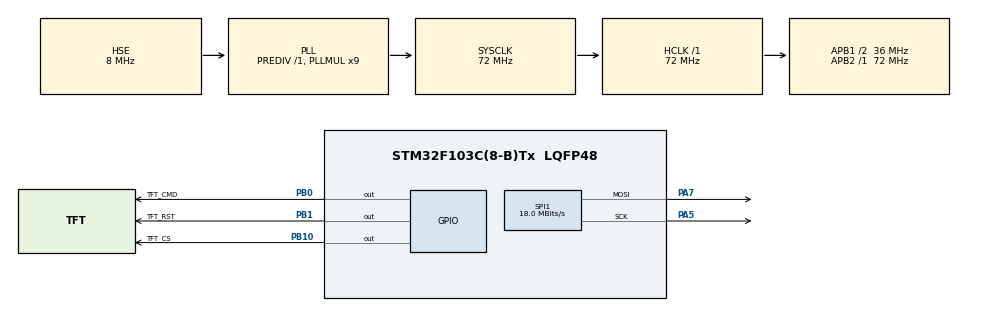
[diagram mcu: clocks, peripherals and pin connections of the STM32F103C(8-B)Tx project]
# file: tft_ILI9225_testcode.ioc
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Mcu.Family=STM32F1
Mcu.Name=STM32F103C(8-B)Tx
Mcu.Package=LQFP48
NVIC.PriorityGroup=NVIC_PRIORITYGROUP_4
PA13.Mode=Serial_Wire
PA13.Signal=SYS_JTMS-SWDIO
PA14.Mode=Serial_Wire
PA14.Signal=SYS_JTCK-SWCLK
PA5.Mode=TX_Only_Simplex_Unidirect_Master
PA5.Signal=SPI1_SCK
PA7.Mode=TX_Only_Simplex_Unidirect_Master
PA7.Signal=SPI1_MOSI
PB0.GPIO_Label=TFT_CMD
PB0.Signal=GPIO_Output
PB1.GPIO_Label=TFT_RST
PB1.Signal=GPIO_Output
PB10.GPIO_Label=TFT_CS
PB10.Signal=GPIO_Output
PD0-OSC_IN.Mode=HSE-External-Oscillator
PD0-OSC_IN.Signal=RCC_OSC_IN
PD1-OSC_OUT.Mode=HSE-External-Oscillator
PD1-OSC_OUT.Signal=RCC_OSC_OUT
ProjectManager.HeapSize=0x200
ProjectManager.StackSize=0x400
ProjectManager.TargetToolchain=STM32CubeIDE
RCC.AHBFreq_Value=72000000
RCC.APB1CLKDivider=RCC_HCLK_DIV2
RCC.APB1Freq_Value=36000000
RCC.APB1TimFreq_Value=72000000
RCC.APB2Freq_Value=72000000
RCC.APB2TimFreq_Value=72000000
RCC.HCLKFreq_Value=72000000
RCC.PLLMUL=RCC_PLL_MUL9
RCC.PLLSourceVirtual=RCC_PLLSOURCE_HSE
RCC.SYSCLKFreq_VALUE=72000000
RCC.SYSCLKSource=RCC_SYSCLKSOURCE_PLLCLK
RCC.USBFreq_Value=72000000
SPI1.BaudRatePrescaler=SPI_BAUDRATEPRESCALER_4
SPI1.CalculateBaudRate=18.0 MBits/s
SPI1.Direction=SPI_DIRECTION_2LINES
SPI1.Mode=SPI_MODE_MASTER
SPI1.VirtualType=VM_MASTER
board=custom

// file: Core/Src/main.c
/* USER CODE BEGIN Header */
/**
  ******************************************************************************
  * @file           : main.c
  * @brief          : Main program body
  ******************************************************************************
  * @attention
  *
  * Copyright (c) 2025 STMicroelectronics.
  * All rights reserved.
  *
  * This software is licensed under terms that can be found in the LICENSE file
  * in the root directory of this software component.
  * If no LICENSE file comes with this software, it is provided AS-IS.
  *
  ******************************************************************************
  */
/* USER CODE END Header */
#include "main.h"

/* USER CODE BEGIN PM */

// Change the width and height if required (defined in portrait mode)
// or use the constructor to over-ride defaults
#define TFT_WIDTH  176
#define TFT_HEIGHT 220
#define TFT_SIZE (TFT_WIDTH * TFT_HEIGHT)

// Generic commands used by TFT_eSPI.cpp
#define TFT_NOP     0x00
#define TFT_SWRST   0x28

#define TFT_CASET 0
#define TFT_PASET 0

#define TFT_CASET1     ILI9225_HORIZONTAL_WINDOW_ADDR2
#define TFT_CASET2     ILI9225_HORIZONTAL_WINDOW_ADDR1

#define TFT_PASET1     ILI9225_VERTICAL_WINDOW_ADDR2
#define TFT_PASET2     ILI9225_VERTICAL_WINDOW_ADDR1

#define TFT_RAM_ADDR1  ILI9225_RAM_ADDR_SET1
#define TFT_RAM_ADDR2  ILI9225_RAM_ADDR_SET2

#define TFT_RAMWR      ILI9225_GRAM_DATA_REG

#define TFT_MAD_BGR 0x10
#define TFT_MAD_RGB 0x00

#ifdef TFT_RGB_ORDER
  #if (TFT_RGB_ORDER == 1)
    #define TFT_MAD_COLOR_ORDER TFT_MAD_RGB
  #else
    #define TFT_MAD_COLOR_ORDER TFT_MAD_BGR
  #endif
#else
  #define TFT_MAD_COLOR_ORDER TFT_MAD_BGR
#endif

/* ILI9225 Registers */
#define ILI9225_DRIVER_OUTPUT_CTRL      0x01  // Driver Output Control
#define ILI9225_LCD_AC_DRIVING_CTRL     0x02  // LCD AC Driving Control
#define ILI9225_ENTRY_MODE              0x03  // Entry Mode
#define ILI9225_DISP_CTRL1              0x07  // Display Control 1
#define ILI9225_BLANK_PERIOD_CTRL1      0x08  // Blank Period Control
#define ILI9225_FRAME_CYCLE_CTRL        0x0B  // Frame Cycle Control
#define ILI9225_INTERFACE_CTRL          0x0C  // Interface Control
#define ILI9225_OSC_CTRL                0x0F  // Osc Control
#define ILI9225_POWER_CTRL1             0x10  // Power Control 1
#define ILI9225_POWER_CTRL2             0x11  // Power Control 2
#define ILI9225_POWER_CTRL3             0x12  // Power Control 3
#define ILI9225_POWER_CTRL4             0x13  // Power Control 4
#define ILI9225_POWER_CTRL5             0x14  // Power Control 5
#define ILI9225_VCI_RECYCLING           0x15  // VCI Recycling
#define ILI9225_RAM_ADDR_SET1           0x20  // Horizontal GRAM Address Set
#define ILI9225_RAM_ADDR_SET2           0x21  // Vertical GRAM Address Set
#define ILI9225_GRAM_DATA_REG           0x22  // GRAM Data Register
#define ILI9225_GATE_SCAN_CTRL          0x30  // Gate Scan Control Register
#define ILI9225_VERTICAL_SCROLL_CTRL1   0x31  // Vertical Scroll Control 1 Register
#define ILI9225_VERTICAL_SCROLL_CTRL2   0x32  // Vertical Scroll Control 2 Register
#define ILI9225_VERTICAL_SCROLL_CTRL3   0x33  // Vertical Scroll Control 3 Register
#define ILI9225_PARTIAL_DRIVING_POS1    0x34  // Partial Driving Position 1 Register
#define ILI9225_PARTIAL_DRIVING_POS2    0x35  // Partial Driving Position 2 Register
#define ILI9225_HORIZONTAL_WINDOW_ADDR1 0x36  // Horizontal Address Start Position
#define ILI9225_HORIZONTAL_WINDOW_ADDR2 0x37  // Horizontal Address End Position
#define ILI9225_VERTICAL_WINDOW_ADDR1   0x38  // Vertical Address Start Position
#define ILI9225_VERTICAL_WINDOW_ADDR2   0x39  // Vertical Address End Position
#define ILI9225_GAMMA_CTRL1             0x50  // Gamma Control 1
#define ILI9225_GAMMA_CTRL2             0x51  // Gamma Control 2
#define ILI9225_GAMMA_CTRL3             0x52  // Gamma Control 3
#define ILI9225_GAMMA_CTRL4             0x53  // Gamma Control 4
#define ILI9225_GAMMA_CTRL5             0x54  // Gamma Control 5
#define ILI9225_GAMMA_CTRL6             0x55  // Gamma Control 6
#define ILI9225_GAMMA_CTRL7             0x56  // Gamma Control 7
#define ILI9225_GAMMA_CTRL8             0x57  // Gamma Control 8
#define ILI9225_GAMMA_CTRL9             0x58  // Gamma Control 9
#define ILI9225_GAMMA_CTRL10            0x59  // Gamma Control 10

#define LCD_nCS_LOW()	HAL_GPIO_WritePin(GPIOB, TFT_CS_Pin, 0) // ghi chan CS xuong muc 0
#define LCD_nCS_HIGH()	HAL_GPIO_WritePin(GPIOB, TFT_CS_Pin, 1)

/* USER CODE END PM */

SPI_HandleTypeDef hspi1;

void SystemClock_Config(void);
static void MX_GPIO_Init(void);
static void MX_SPI1_Init(void);

/* USER CODE BEGIN 0 */
//void ILI9225_WriteCommand(uint8_t command)
//{
//	LCD_nCS_LOW();
//	HAL_GPIO_WritePin(GPIOB, TFT_CMD_Pin, 0); // RS = 0 => CMD
//	HAL_SPI_Transmit(&hspi1, &command, 1, 1000);
//	LCD_nCS_HIGH();
//}

//void ILI9225_WriteData(uint8_t data)
//{
//	LCD_nCS_LOW();
//	HAL_GPIO_WritePin(GPIOB, TFT_CMD_Pin, 1); // RS = 1 -> DATA
//	HAL_SPI_Transmit(&hspi1, &data, 1, 1000);
//	LCD_nCS_HIGH();
//}

void ILI9225_WriteCommand16(uint16_t cmd)
{
    uint8_t cmd_buf[2];
    // ILI9225 yêu cầu gửi Byte Cao (MSB) trước, Byte Thấp (LSB) sau
    cmd_buf[0] = (uint8_t)(cmd >> 8);  // Byte Cao
    cmd_buf[1] = (uint8_t)(cmd & 0xFF); // Byte Thấp

    LCD_nCS_LOW();
    HAL_GPIO_WritePin(GPIOB, TFT_CMD_Pin, 0); // TFT_CMD_Pin là nối với chân RS = 0 -> DATA
    HAL_SPI_Transmit(&hspi1, cmd_buf, 2, 1000); // Gửi 2 bytes
    LCD_nCS_HIGH();
}

void ILI9225_WriteData16(uint16_t data)
{
    uint8_t data_buf[2];
    // ILI9225 yêu cầu gửi Byte Cao (MSB) trước, Byte Thấp (LSB) sau
    data_buf[0] = (uint8_t)(data >> 8);  // Byte Cao
    data_buf[1] = (uint8_t)(data & 0xFF); // Byte Thấp

    LCD_nCS_LOW();
    HAL_GPIO_WritePin(GPIOB, TFT_CMD_Pin, 1); // RS = 1 -> DATA
    HAL_SPI_Transmit(&hspi1, data_buf, 2, 1000); // Gửi 2 bytes
    LCD_nCS_HIGH();
}

void ILI9225_WriteRegister(uint16_t cmd, uint16_t data)
{
	ILI9225_WriteCommand16(cmd);
//	ILI9225_WriteData(data);
	ILI9225_WriteData16(data);
}

void ILI9225_Init()
{
	// 1. SW reset; reset pin PB1
	HAL_GPIO_WritePin(GPIOB, TFT_RST_Pin, 0);
	HAL_Delay(10);
	HAL_GPIO_WritePin(GPIOB, TFT_RST_Pin, 1);
	HAL_Delay(200);

	/* Start Initial Sequence */
	/* Set SS bit and direction output from S528 to S1 */
	ILI9225_WriteRegister(ILI9225_POWER_CTRL1, 0x0000); // Set SAP,DSTB,STB
	ILI9225_WriteRegister(ILI9225_POWER_CTRL2, 0x0000); // Set APON,PON,AON,VCI1EN,VC
	ILI9225_WriteRegister(ILI9225_POWER_CTRL3, 0x0000); // Set BT,DC1,DC2,DC3
	ILI9225_WriteRegister(ILI9225_POWER_CTRL4, 0x0000); // Set GVDD
	ILI9225_WriteRegister(ILI9225_POWER_CTRL5, 0x0000); // Set VCOMH/VCOML voltage
	HAL_Delay(40);

	// Power-on sequence
	ILI9225_WriteRegister(ILI9225_POWER_CTRL2, 0x0018); // Set APON,PON,AON,VCI1EN,VC
	ILI9225_WriteRegister(ILI9225_POWER_CTRL3, 0x6121); // Set BT,DC1,DC2,DC3
	ILI9225_WriteRegister(ILI9225_POWER_CTRL4, 0x006F); // Set GVDD   /*007F 0088 */
	ILI9225_WriteRegister(ILI9225_POWER_CTRL5, 0x495F); // Set VCOMH/VCOML voltage
	ILI9225_WriteRegister(ILI9225_POWER_CTRL1, 0x0800); // Set SAP,DSTB,STB
	HAL_Delay(10);

	ILI9225_WriteRegister(ILI9225_POWER_CTRL2, 0x103B); // Set APON,PON,AON,VCI1EN,VC
	HAL_Delay(50);

	ILI9225_WriteRegister(ILI9225_DRIVER_OUTPUT_CTRL, 0x011C); // set the display line number and display direction
	ILI9225_WriteRegister(ILI9225_LCD_AC_DRIVING_CTRL, 0x0100); // set 1 line inversion
	ILI9225_WriteRegister(ILI9225_ENTRY_MODE, 0x1038); // set GRAM write direction and BGR=1.
	ILI9225_WriteRegister(ILI9225_DISP_CTRL1, 0x0000); // Display off
	ILI9225_WriteRegister(ILI9225_BLANK_PERIOD_CTRL1, 0x0808); // set the back porch and front porch
	ILI9225_WriteRegister(ILI9225_FRAME_CYCLE_CTRL, 0x1100); // set the clocks number per line
	ILI9225_WriteRegister(ILI9225_INTERFACE_CTRL, 0x0000); // CPU interface
	ILI9225_WriteRegister(ILI9225_OSC_CTRL, 0x0D01); // Set Osc  /*0e01*/
	ILI9225_WriteRegister(ILI9225_VCI_RECYCLING, 0x0020); // Set VCI recycling
	ILI9225_WriteRegister(ILI9225_RAM_ADDR_SET1, 0x0000); // RAM Address
	ILI9225_WriteRegister(ILI9225_RAM_ADDR_SET2, 0x0000); // RAM Address

	/* Set GRAM area */
	ILI9225_WriteRegister(ILI9225_GATE_SCAN_CTRL, 0x0000);
	ILI9225_WriteRegister(ILI9225_VERTICAL_SCROLL_CTRL1, 0x00DB);
	ILI9225_WriteRegister(ILI9225_VERTICAL_SCROLL_CTRL2, 0x0000);
	ILI9225_WriteRegister(ILI9225_VERTICAL_SCROLL_CTRL3, 0x0000);
	ILI9225_WriteRegister(ILI9225_PARTIAL_DRIVING_POS1, 0x00DB);
	ILI9225_WriteRegister(ILI9225_PARTIAL_DRIVING_POS2, 0x0000);
	ILI9225_WriteRegister(ILI9225_HORIZONTAL_WINDOW_ADDR1, 0x00AF);
	ILI9225_WriteRegister(ILI9225_HORIZONTAL_WINDOW_ADDR2, 0x0000);
	ILI9225_WriteRegister(ILI9225_VERTICAL_WINDOW_ADDR1, 0x00DB);
	ILI9225_WriteRegister(ILI9225_VERTICAL_WINDOW_ADDR2, 0x0000);

	/* Set GAMMA curve */
	ILI9225_WriteRegister(ILI9225_GAMMA_CTRL1, 0x0000);
	ILI9225_WriteRegister(ILI9225_GAMMA_CTRL2, 0x0808);
	ILI9225_WriteRegister(ILI9225_GAMMA_CTRL3, 0x080A);
	ILI9225_WriteRegister(ILI9225_GAMMA_CTRL4, 0x000A);
	ILI9225_WriteRegister(ILI9225_GAMMA_CTRL5, 0x0A08);
	ILI9225_WriteRegister(ILI9225_GAMMA_CTRL6, 0x0808);
	ILI9225_WriteRegister(ILI9225_GAMMA_CTRL7, 0x0000);
	ILI9225_WriteRegister(ILI9225_GAMMA_CTRL8, 0x0A00);
	ILI9225_WriteRegister(ILI9225_GAMMA_CTRL9, 0x0710);
	ILI9225_WriteRegister(ILI9225_GAMMA_CTRL10, 0x0710);

	ILI9225_WriteRegister(ILI9225_DISP_CTRL1, 0x0012);
	HAL_Delay(50);

	ILI9225_WriteRegister(ILI9225_DISP_CTRL1, 0x1017);
}

/**
 * @brief Tô đầy màn hình LCD bằng một màu sắc 16-bit cụ thể.
 * @param color: Giá trị màu 16-bit (R5G6B5)
 */
void ILI9225_FillScreen(uint16_t color)
{
    // 1. Đặt lại con trỏ vẽ về (0, 0)
    // Thanh ghi 20h (RAM Address Set 1 - Cột X)
    ILI9225_WriteRegister(0x20, 0x0000);
    // Thanh ghi 21h (RAM Address Set 2 - Hàng Y)
    ILI9225_WriteRegister(0x21, 0x0000);

    // 2. Chọn Lệnh Ghi Dữ liệu vào GRAM (0x22)
    // Lệnh này chỉ cần gửi 8-bit Command (RS=0)
    ILI9225_WriteCommand16(0x22);

    // 3. Gửi Dữ liệu Màu (color) cho toàn bộ màn hình

    // Chuẩn bị 2 byte dữ liệu màu để gửi lặp lại
    uint8_t color_buf[2];
    color_buf[0] = (uint8_t)(color >> 8);  // Byte Cao
    color_buf[1] = (uint8_t)(color & 0xFF); // Byte Thấp

    // Bắt đầu truyền dữ liệu (RS=1)
    LCD_nCS_LOW();
    HAL_GPIO_WritePin(GPIOB, TFT_CMD_Pin, 1); // RS = 1 -> DATA

    // Gửi 38720 pixel (mỗi pixel là 2 bytes)
    for (uint32_t i = 0; i < TFT_SIZE; i++)
    {
        // Sử dụng HAL_SPI_Transmit trực tiếp để tránh overhead của hàm con
        // và giữ CS (Chip Select) LOW trong suốt quá trình vẽ
        HAL_SPI_Transmit(&hspi1, color_buf, 2, 10);
    }

    LCD_nCS_HIGH();
}

/* USER CODE END 0 */

int main(void)
{

  /* MCU Configuration--------------------------------------------------------*/

  /* Reset of all peripherals, Initializes the Flash interface and the Systick. */
  HAL_Init();

  /* Configure the system clock */
  SystemClock_Config();

  /* Initialize all configured peripherals */
  MX_GPIO_Init();
  MX_SPI1_Init();
  /* USER CODE BEGIN 2 */
  ILI9225_Init();
  #define COLOR_RED   0xF800
  #define COLOR_GREEN 0x07E0
  #define COLOR_BLUE  0x001F
  /* USER CODE END 2 */

  /* Infinite loop */
  while (1)
  {
	  // Test màu Đỏ
	  ILI9225_FillScreen(COLOR_RED);
	  HAL_Delay(1000);

	  // Test màu Xanh lá
	  ILI9225_FillScreen(COLOR_GREEN);
	  HAL_Delay(1000);

	  // Test màu Xanh dương
	  ILI9225_FillScreen(COLOR_BLUE);
	  HAL_Delay(1000);
  }
}

void SystemClock_Config(void)
{
  RCC_OscInitTypeDef RCC_OscInitStruct = {0};
  RCC_ClkInitTypeDef RCC_ClkInitStruct = {0};

  /** Initializes the RCC Oscillators according to the specified parameters
  * in the RCC_OscInitTypeDef structure.
  */
  RCC_OscInitStruct.OscillatorType = RCC_OSCILLATORTYPE_HSE;
  RCC_OscInitStruct.HSEState = RCC_HSE_ON;
  RCC_OscInitStruct.HSEPredivValue = RCC_HSE_PREDIV_DIV1;
  RCC_OscInitStruct.HSIState = RCC_HSI_ON;
  RCC_OscInitStruct.PLL.PLLState = RCC_PLL_ON;
  RCC_OscInitStruct.PLL.PLLSource = RCC_PLLSOURCE_HSE;
  RCC_OscInitStruct.PLL.PLLMUL = RCC_PLL_MUL9;
  if (HAL_RCC_OscConfig(&RCC_OscInitStruct) != HAL_OK)
  {
    Error_Handler();
  }

  /** Initializes the CPU, AHB and APB buses clocks
  */
  RCC_ClkInitStruct.ClockType = RCC_CLOCKTYPE_HCLK|RCC_CLOCKTYPE_SYSCLK
                              |RCC_CLOCKTYPE_PCLK1|RCC_CLOCKTYPE_PCLK2;
  RCC_ClkInitStruct.SYSCLKSource = RCC_SYSCLKSOURCE_PLLCLK;
  RCC_ClkInitStruct.AHBCLKDivider = RCC_SYSCLK_DIV1;
  RCC_ClkInitStruct.APB1CLKDivider = RCC_HCLK_DIV2;
  RCC_ClkInitStruct.APB2CLKDivider = RCC_HCLK_DIV1;

  if (HAL_RCC_ClockConfig(&RCC_ClkInitStruct, FLASH_LATENCY_2) != HAL_OK)
  {
    Error_Handler();
  }
}

static void MX_SPI1_Init(void)
{

  /* SPI1 parameter configuration*/
  hspi1.Instance = SPI1;
  hspi1.Init.Mode = SPI_MODE_MASTER;
  hspi1.Init.Direction = SPI_DIRECTION_2LINES;
  hspi1.Init.DataSize = SPI_DATASIZE_8BIT;
  hspi1.Init.CLKPolarity = SPI_POLARITY_LOW;
  hspi1.Init.CLKPhase = SPI_PHASE_1EDGE;
  hspi1.Init.NSS = SPI_NSS_SOFT;
  hspi1.Init.BaudRatePrescaler = SPI_BAUDRATEPRESCALER_4;
  hspi1.Init.FirstBit = SPI_FIRSTBIT_MSB;
  hspi1.Init.TIMode = SPI_TIMODE_DISABLE;
  hspi1.Init.CRCCalculation = SPI_CRCCALCULATION_DISABLE;
  hspi1.Init.CRCPolynomial = 10;
  if (HAL_SPI_Init(&hspi1) != HAL_OK)
  {
    Error_Handler();
  }

}

static void MX_GPIO_Init(void)
{
  GPIO_InitTypeDef GPIO_InitStruct = {0};

  /* GPIO Ports Clock Enable */
  __HAL_RCC_GPIOD_CLK_ENABLE();
  __HAL_RCC_GPIOA_CLK_ENABLE();
  __HAL_RCC_GPIOB_CLK_ENABLE();

  /*Configure GPIO pin Output Level */
  HAL_GPIO_WritePin(GPIOB, TFT_CMD_Pin|TFT_RST_Pin|TFT_CS_Pin, GPIO_PIN_RESET);

  /*Configure GPIO pins : TFT_CMD_Pin TFT_RST_Pin TFT_CS_Pin */
  GPIO_InitStruct.Pin = TFT_CMD_Pin|TFT_RST_Pin|TFT_CS_Pin;
  GPIO_InitStruct.Mode = GPIO_MODE_OUTPUT_PP;
  GPIO_InitStruct.Pull = GPIO_NOPULL;
  GPIO_InitStruct.Speed = GPIO_SPEED_FREQ_LOW;
  HAL_GPIO_Init(GPIOB, &GPIO_InitStruct);

}

void Error_Handler(void)
{
  __disable_irq();
  while (1)
  {
  }
}
